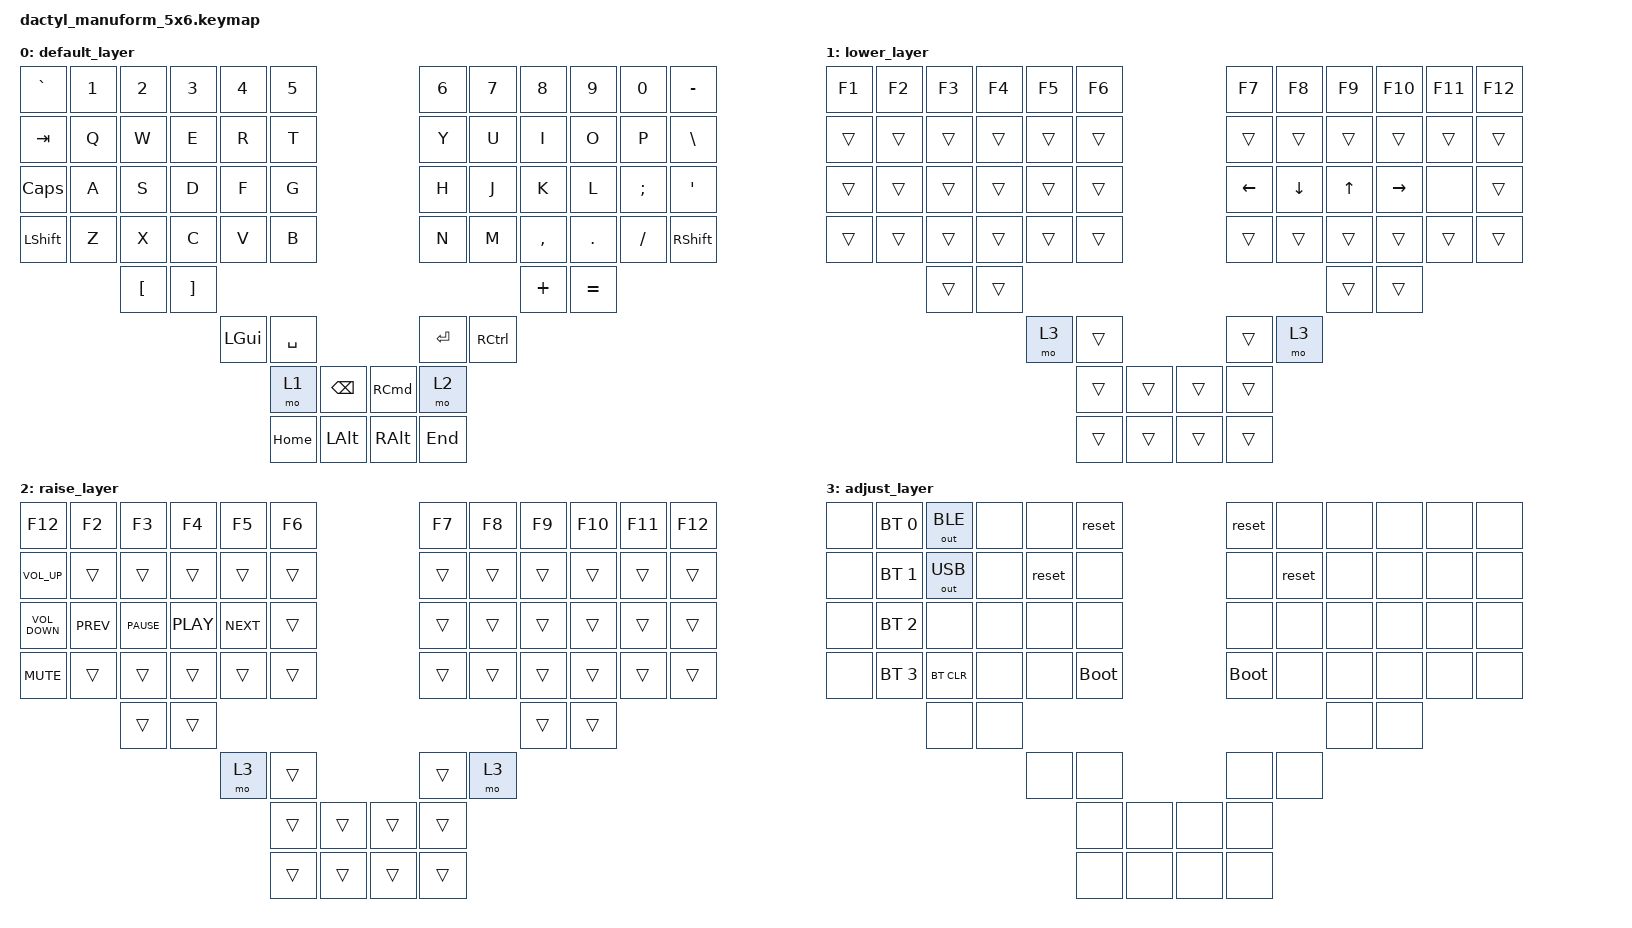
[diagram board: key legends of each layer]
#include <behaviors.dtsi>
#include <dt-bindings/zmk/keys.h>
#include <dt-bindings/zmk/bt.h>
#include <dt-bindings/zmk/outputs.h>

#define DEFAULT 0
#define LWR 1
#define RSE 2
#define ADJ 3

/ {
    keymap {
        compatible = "zmk,keymap";

        default_layer {
            bindings = <
   &kp GRAVE  &kp N1    &kp N2    &kp N3    &kp N4     &kp N5                                     &kp N6             &kp N7     &kp N8     &kp N9    &kp N0        &kp MINUS
     &kp TAB   &kp Q     &kp W     &kp E     &kp R      &kp T                                      &kp Y              &kp U      &kp I      &kp O     &kp P    &kp BACKSLASH
&kp CAPSLOCK   &kp A     &kp S     &kp D     &kp F      &kp G                                      &kp H              &kp J      &kp K      &kp L  &kp SEMI          &kp SQT
  &kp LSHIFT   &kp Z     &kp X     &kp C     &kp V      &kp B                                      &kp N              &kp M  &kp COMMA    &kp DOT  &kp FSLH  &kp RIGHT_SHIFT
                      &kp LBKT  &kp RBKT                                                                                      &kp PLUS  &kp EQUAL
                                          &kp LGUI  &kp SPACE                                    &kp RET  &kp RIGHT_CONTROL
                                                        &mo 1  &kp BACKSPACE  &kp RIGHT_COMMAND    &mo 2
                                                     &kp HOME       &kp LALT      &kp RIGHT_ALT  &kp END
            >;
        };

        lower_layer {
            bindings = <
&kp F1  &kp F2  &kp F3  &kp F4  &kp F5  &kp F6                    &kp F7          &kp F8  &kp F9    &kp F10  &kp F11  &kp F12
&trans  &trans  &trans  &trans  &trans  &trans                    &trans          &trans  &trans     &trans   &trans   &trans
&trans  &trans  &trans  &trans  &trans  &trans                  &kp LEFT  &kp DOWN_ARROW  &kp UP  &kp RIGHT    &none   &trans
&trans  &trans  &trans  &trans  &trans  &trans                    &trans          &trans  &trans     &trans   &trans   &trans
                &trans  &trans                                                            &trans     &trans
                                 &mo 3  &trans                    &trans           &mo 3
                                        &trans  &trans  &trans    &trans
                                        &trans  &trans  &trans    &trans
            >;
        };

        raise_layer {
            bindings = <
          &kp F12      &kp F2       &kp F3      &kp F4      &kp F5  &kp F6                  &kp F7  &kp F8  &kp F9  &kp F10  &kp F11  &kp F12
     &kp C_VOL_UP      &trans       &trans      &trans      &trans  &trans                  &trans  &trans  &trans   &trans   &trans   &trans
&kp C_VOLUME_DOWN  &kp C_PREV  &kp C_PAUSE  &kp C_PLAY  &kp C_NEXT  &trans                  &trans  &trans  &trans   &trans   &trans   &trans
       &kp K_MUTE      &trans       &trans      &trans      &trans  &trans                  &trans  &trans  &trans   &trans   &trans   &trans
                                    &trans      &trans                                                      &trans   &trans
                                                             &mo 3  &trans                  &trans   &mo 3
                                                                    &trans  &trans  &trans  &trans
                                                                    &trans  &trans  &trans  &trans
            >;
        };

        adjust_layer {
            bindings = <
&none  &bt BT_SEL 0  &out OUT_BLE  &none   &none       &reset                     &reset   &none  &none  &none  &none  &none
&none  &bt BT_SEL 1  &out OUT_USB  &none  &reset        &none                      &none  &reset  &none  &none  &none  &none
&none  &bt BT_SEL 2         &none  &none   &none        &none                      &none   &none  &none  &none  &none  &none
&none  &bt BT_SEL 3    &bt BT_CLR  &none   &none  &bootloader                &bootloader   &none  &none  &none  &none  &none
                            &none  &none                                                          &none  &none
                                           &none        &none                      &none   &none
                                                        &none  &none  &none        &none
                                                        &none  &none  &none        &none
            >;
        };
    };
};
